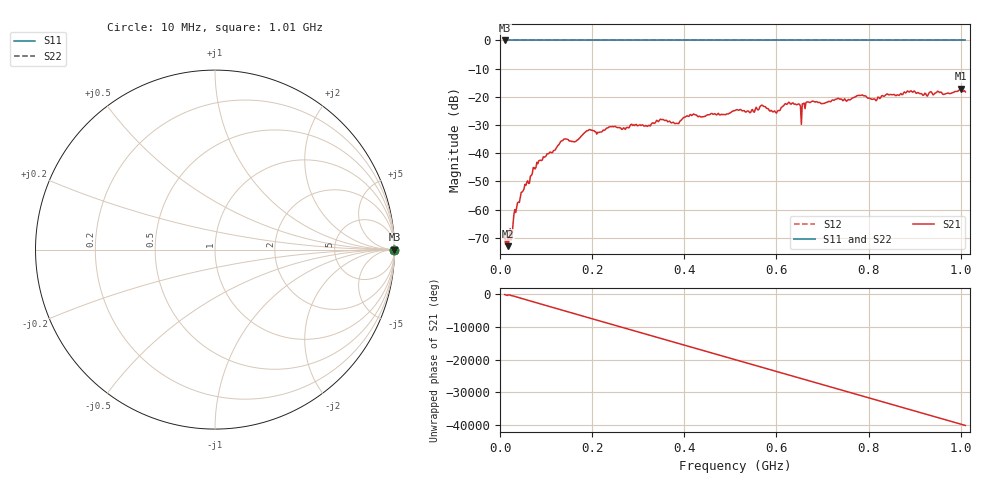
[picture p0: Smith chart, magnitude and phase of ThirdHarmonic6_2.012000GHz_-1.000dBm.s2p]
! 8/17/2025 12:09:49 AM
! C:\ANRITSUVNA\TEMP\TEMP.S2P
! CHANNEL.1
! TR.MEASUREMENT
! RAW.DATA
! RF.CORRECTION.OFF
! AVERAGING.OFF
! IF.BANDWIDTH: 5KHZ
! SWEEPTYPE:  FREQ.SWEEP(Linear)
! Reference Plane Port Info
! PORT:  PORT1  PORT2
! DISTANCE:  0  m  0  m
! TIME:  0  s  0  s
! PHASE.OFFSET:  0  deg.  0  deg.
! LOSS:  0  dB  0  dB
! REF.LOSS:  0  dB  0  dB
! REF.FREQ:  0  Hz  0  Hz
! Power Info
! POWER:  -20  dBm  -20  dBm
! EFF.POWER:  -20  dBm  -20  dBm
! SOURCE.ATTEN:  0  dB  0  dB
! TEST.ATTEN:  0  dB  0  dB
# GHZ S RI R 50.0
! FREQ.GHZ  S11RE  S11IM  S21RE  S21IM  S12RE  S12IM  S22RE  S22IM
!; PortSelection: Port_12
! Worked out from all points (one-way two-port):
!   501 points, 10 MHz to 1.01 GHz, reference 50 ohm
!   highest |S21| = -17.10 dB at 1 GHz (marker M1); lowest = -72.9 dB at 18 MHz (marker M2)
!   lowest |S11| = 0.0 dB at 10 MHz (marker M3)
!   |S11| at or under -10 dB: nowhere
!   |S22| runs from 0.0 to 0.0 dB; largest |S21 - S12| = 1.1
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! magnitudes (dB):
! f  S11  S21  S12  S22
! 10 MHz  0.0  -68.8  0.0  0.0
! 18 MHz  0.0  -72.9  0.0  0.0
! 22 MHz  0.0  -66.7  0.0  0.0
! 34 MHz  0.0  -61.0  0.0  0.0
! 50 MHz  0.0  -53.4  0.0  0.0
! 84 MHz  0.0  -42.7  0.0  0.0
! 136 MHz  0.0  -35.5  0.0  0.0
! 162 MHz  0.0  -36.0  0.0  0.0
! 178 MHz  0.0  -33.6  0.0  0.0
! 192 MHz  0.0  -31.9  0.0  0.0
! 344 MHz  0.0  -28.8  0.0  0.0
! 384 MHz  0.0  -29.4  0.0  0.0
! 416 MHz  0.0  -26.6  0.0  0.0
! 510 MHz  0.0  -24.9  0.0  0.0
! 570 MHz  0.0  -23.1  0.0  0.0
! 596 MHz  0.0  -25.0  0.0  0.0
! 630 MHz  0.0  -22.5  0.0  0.0
! 658 MHz  0.0  -22.4  0.0  0.0
! 678 MHz  0.0  -21.5  0.0  0.0
! 844 MHz  0.0  -19.3  0.0  0.0
! 1 GHz  0.0  -17.1  0.0  0.0
! 1.01 GHz  0.0  -18.3  0.0  0.0
